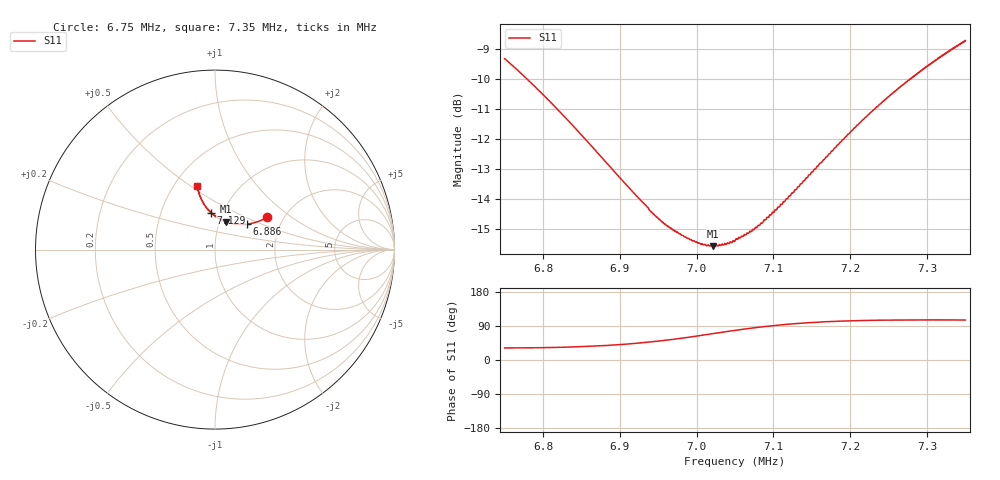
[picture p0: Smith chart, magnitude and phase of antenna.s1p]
! Calibrated high-resolution NanoVNA antenna measurement
# Hz S RI R 50
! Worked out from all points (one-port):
!   1601 points, 6.75 MHz to 7.35 MHz, reference 50 ohm
!   lowest |S11| = -15.6 dB at 7.021 MHz (marker M1), VSWR 1.40, Z = 53.4 + j17.1 ohm
!   |S11| at or under -10 dB: 6.779 MHz to 7.279 MHz (500.4 kHz wide, 7.12 % of centre)
!   S11 on the Smith chart (normalised r, x): 6.75 MHz: 1.65, +0.67; 6.886 MHz: 1.36, +0.41; 7.129 MHz: 0.88, +0.38; 7.35 MHz: 0.65, +0.53
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6750000  0.2899 0.1803
6754875  0.2861 0.1783
6780000  0.2667 0.1676
6825000  0.2298 0.1525
6852750  0.2056 0.1466
6886500  0.1759 0.142
6900000  0.1641 0.1408
6945000  0.1234 0.1412
6959250  0.111 0.1429
6975000  0.0979 0.1453
6989625  0.0852 0.1486
7003875  0.0729 0.1516
7014750  0.0635 0.1543
7020750  0.0586 0.1556
7036875  0.0452 0.1617
7044000  0.0396 0.1643
7050000  0.0347 0.1659
7069125  0.0202 0.1749
7083750  0.00916 0.1814
7105875  -0.00598 0.1931
7125000  -0.0191 0.2029
7128750  -0.0217 0.2054
7164000  -0.0422 0.2265
7200000  -0.0593 0.2507
7239750  -0.0747 0.2775
7275000  -0.0853 0.3021
7316625  -0.0934 0.3299
7350000  -0.0978 0.3527
